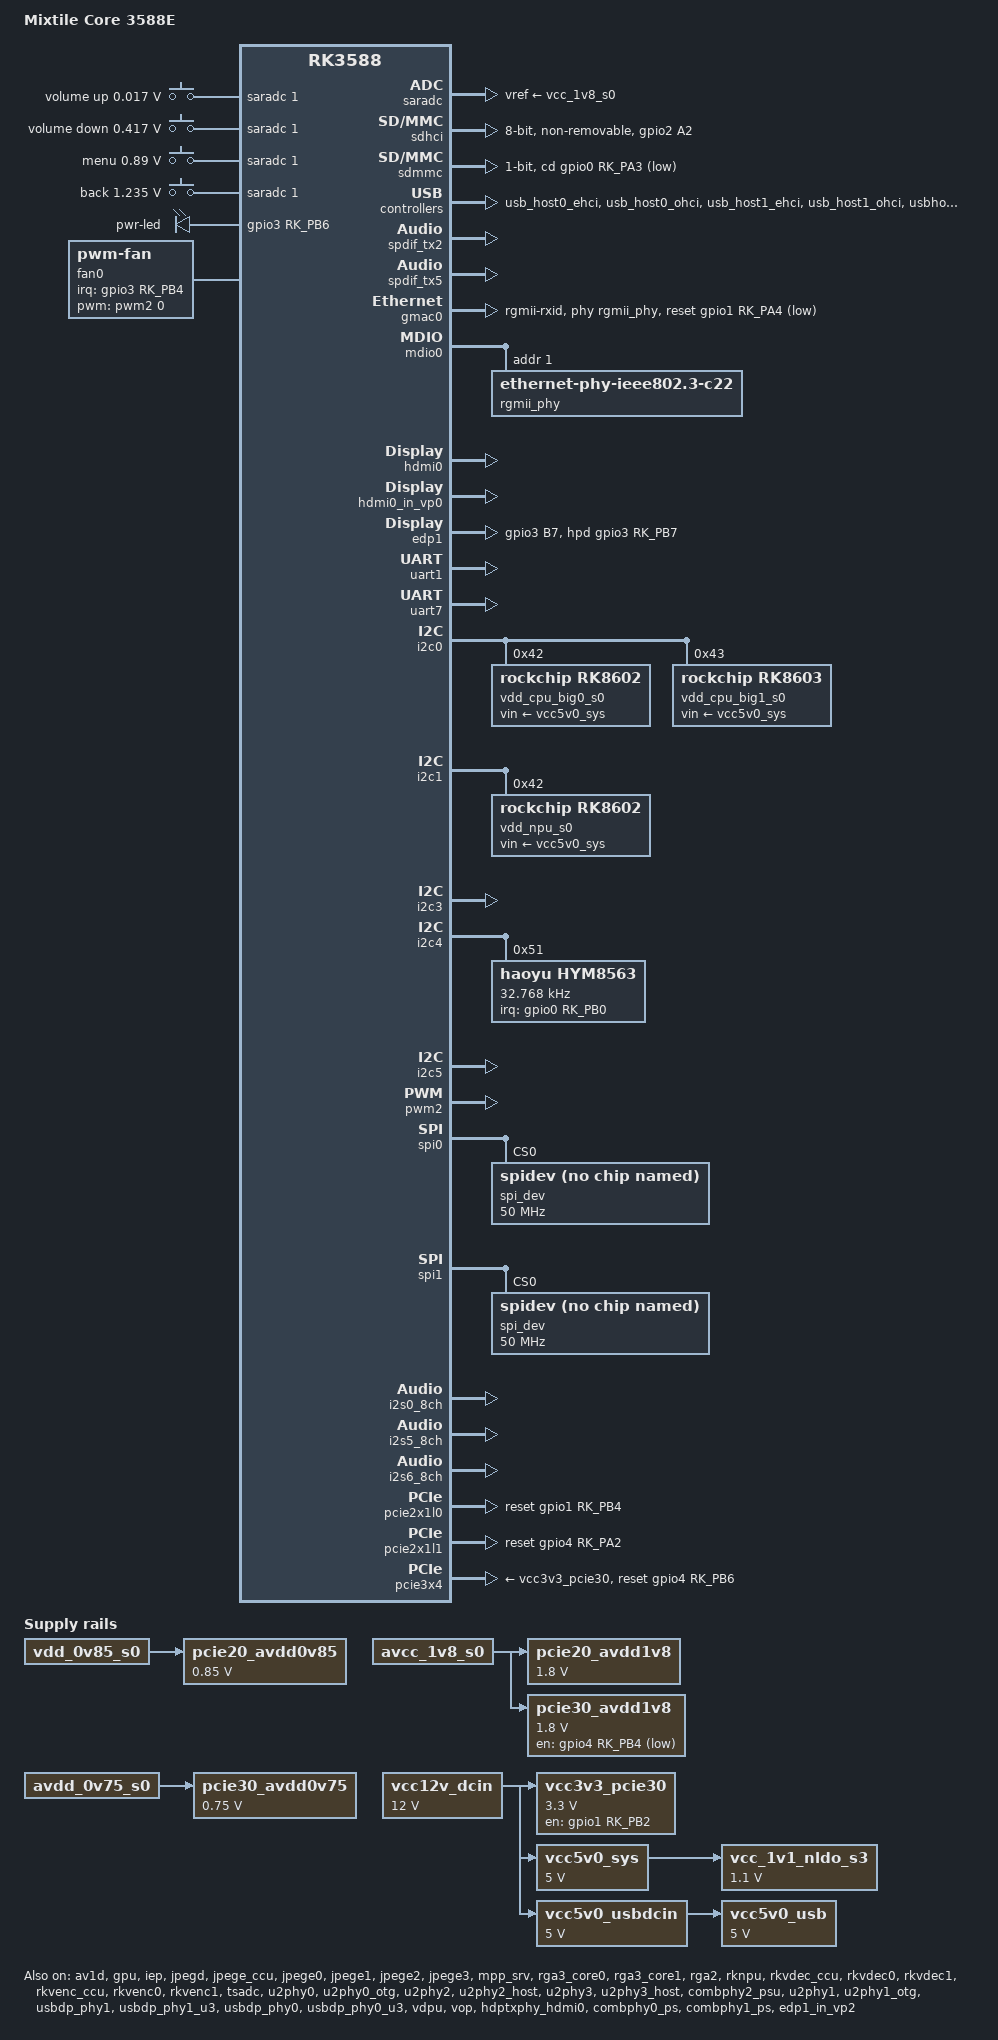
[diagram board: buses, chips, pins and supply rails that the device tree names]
// SPDX-License-Identifier: (GPL-2.0+ OR MIT)
/*
 * Copyright (c) 2022 Mixtile Limited
 *
 */

/dts-v1/;

#include <dt-bindings/gpio/gpio.h>
#include <dt-bindings/pwm/pwm.h>
#include <dt-bindings/pinctrl/rockchip.h>
#include <dt-bindings/input/rk-input.h>
#include <dt-bindings/display/drm_mipi_dsi.h>
#include <dt-bindings/display/rockchip_vop.h>
#include <dt-bindings/sensor-dev.h>

#include "dt-bindings/usb/pd.h"
#include "rk3588.dtsi"
#include "rk3588-rk806-single.dtsi"
#include "rk3588-linux.dtsi"

/ {
	model = "Mixtile Core 3588E";
	compatible = "mixtile,core3588e", "rockchip,rk3588";
	/delete-node/ chosen;

	aliases {
		i2c0 = &i2c4;
		i2c1 = &i2c5;
		i2c2 = &i2c3;
		i2c3 = &i2c0;
		i2c4 = &i2c1;
		i2c5 = &i2c2;
		spi0 = &spi1;
		spi1 = &spi0;
	};

	/* If hdmirx node is disabled, delete the reserved-memory node here. */
	reserved-memory {
		#address-cells = <2>;
		#size-cells = <2>;
		ranges;

		/* Reserve 256MB memory for hdmirx-controller@fdee0000 */
		cma {
			compatible = "shared-dma-pool";
			reusable;
			reg = <0x0 (256 * 0x100000) 0x0 (256 * 0x100000)>;
			linux,cma-default;
		};
	};

	adc_keys: adc-keys {
		compatible = "adc-keys";
		io-channels = <&saradc 1>;
		io-channel-names = "buttons";
		keyup-threshold-microvolt = <1800000>;
		poll-interval = <100>;

		vol-up-key {
			label = "volume up";
			linux,code = <KEY_VOLUMEUP>;
			press-threshold-microvolt = <17000>;
		};

		vol-down-key {
			label = "volume down";
			linux,code = <KEY_VOLUMEDOWN>;
			press-threshold-microvolt = <417000>;
		};

		menu-key {
			label = "menu";
			linux,code = <KEY_MENU>;
			press-threshold-microvolt = <890000>;
		};

		back-key {
			label = "back";
			linux,code = <KEY_BACK>;
			press-threshold-microvolt = <1235000>;
		};
	};

	gpio-leds {
		compatible = "gpio-leds";

		pwr-led {
			gpios = <&gpio3 RK_PB6 GPIO_ACTIVE_HIGH>;
			default-state = "on";
			linux,default-trigger = "heartbeat";
		};
	};

	hdmi0_sound: hdmi0-sound {
		status = "okay";
		compatible = "rockchip,hdmi";
		rockchip,mclk-fs = <128>;
		rockchip,card-name = "rockchip-hdmi0";
		rockchip,cpu = <&i2s5_8ch>;
		rockchip,codec = <&hdmi0>;
		rockchip,jack-det;
	};

	edp1_sound: edp1-sound {
		status = "okay";
		compatible = "rockchip,hdmi";
		rockchip,card-name = "rockchip-edp1";
		rockchip,mclk-fs = <512>;
		rockchip,cpu = <&i2s6_8ch>;
		rockchip,codec = <&edp1>;
		rockchip,jack-det;
	};

	pcie20_avdd0v85: pcie20-avdd0v85 {
		compatible = "regulator-fixed";
		regulator-name = "pcie20_avdd0v85";
		regulator-boot-on;
		regulator-always-on;
		regulator-min-microvolt = <850000>;
		regulator-max-microvolt = <850000>;
		vin-supply = <&vdd_0v85_s0>;
	};

	pcie20_avdd1v8: pcie20-avdd1v8 {
		compatible = "regulator-fixed";
		regulator-name = "pcie20_avdd1v8";
		regulator-boot-on;
		regulator-always-on;
		regulator-min-microvolt = <1800000>;
		regulator-max-microvolt = <1800000>;
		vin-supply = <&avcc_1v8_s0>;
	};

	pcie30_avdd0v75: pcie30-avdd0v75 {
		compatible = "regulator-fixed";
		regulator-name = "pcie30_avdd0v75";
		regulator-boot-on;
		regulator-always-on;
		regulator-min-microvolt = <750000>;
		regulator-max-microvolt = <750000>;
		vin-supply = <&avdd_0v75_s0>;
	};

	pcie30_avdd1v8: pcie30-avdd1v8 {
		compatible = "regulator-fixed";
		regulator-name = "pcie30_avdd1v8";
		regulator-boot-on;
		regulator-always-on;
		gpios = <&gpio4 RK_PB4 GPIO_ACTIVE_LOW>;
		regulator-min-microvolt = <1800000>;
		regulator-max-microvolt = <1800000>;
		vin-supply = <&avcc_1v8_s0>;
	};

	vcc3v3_pcie30: vcc3v3-pcie30 {
		compatible = "regulator-fixed";
		regulator-name = "vcc3v3_pcie30";
		regulator-min-microvolt = <3300000>;
		regulator-max-microvolt = <3300000>;
		enable-active-high;
		regulator-always-on;
		gpios = <&gpio1 RK_PB2 GPIO_ACTIVE_HIGH>;
		startup-delay-us = <10000>;
		vin-supply = <&vcc12v_dcin>;
	};

	vcc12v_dcin: vcc12v-dcin {
		compatible = "regulator-fixed";
		regulator-name = "vcc12v_dcin";
		regulator-always-on;
		regulator-boot-on;
		regulator-min-microvolt = <12000000>;
		regulator-max-microvolt = <12000000>;
	};

	vcc5v0_sys: vcc5v0-sys {
		compatible = "regulator-fixed";
		regulator-name = "vcc5v0_sys";
		regulator-always-on;
		regulator-boot-on;
		regulator-min-microvolt = <5000000>;
		regulator-max-microvolt = <5000000>;
		vin-supply = <&vcc12v_dcin>;
	};

	vcc5v0_usbdcin: vcc5v0-usbdcin {
		compatible = "regulator-fixed";
		regulator-name = "vcc5v0_usbdcin";
		regulator-always-on;
		regulator-boot-on;
		regulator-min-microvolt = <5000000>;
		regulator-max-microvolt = <5000000>;
		vin-supply = <&vcc12v_dcin>;
	};

	vcc5v0_usb: vcc5v0-usb {
		compatible = "regulator-fixed";
		regulator-name = "vcc5v0_usb";
		regulator-always-on;
		regulator-boot-on;
		regulator-min-microvolt = <5000000>;
		regulator-max-microvolt = <5000000>;
		vin-supply = <&vcc5v0_usbdcin>;
	};

	vcc_1v1_nldo_s3: vcc-1v1-nldo-s3 {
		compatible = "regulator-fixed";
		regulator-name = "vcc_1v1_nldo_s3";
		regulator-always-on;
		regulator-boot-on;
		regulator-min-microvolt = <1100000>;
		regulator-max-microvolt = <1100000>;
		vin-supply = <&vcc5v0_sys>;
	};

	fan0: pwm-fan {
		compatible = "pwm-fan";
		#cooling-cells = <2>;
		pwms = <&pwm2 0 50000 0>;
		interrupt-parent = <&gpio3>;
		interrupts = <RK_PB4 IRQ_TYPE_EDGE_FALLING>;
		pulses-per-revolution = <2>;
		cooling-levels = <50 100 150 200 255>;
		rockchip,temp-trips = <
			40000 1
			45000 2
			50000 3
			55000 4
		>;
	};
};

&av1d {
	status = "okay";
};

&av1d_mmu {
	status = "okay";
};

&cpu_l0 {
	cpu-supply = <&vdd_cpu_lit_s0>;
	mem-supply = <&vdd_cpu_lit_mem_s0>;
};

&cpu_b0 {
	cpu-supply = <&vdd_cpu_big0_s0>;
	mem-supply = <&vdd_cpu_big0_mem_s0>;
};

&cpu_b2 {
	cpu-supply = <&vdd_cpu_big1_s0>;
	mem-supply = <&vdd_cpu_big1_mem_s0>;
};

&gpu {
	mali-supply = <&vdd_gpu_s0>;
	mem-supply = <&vdd_gpu_mem_s0>;
	status = "okay";
};

&iep {
	status = "okay";
};

&iep_mmu {
	status = "okay";
};

&jpegd {
	status = "okay";
};

&jpegd_mmu {
	status = "okay";
};

&jpege_ccu {
	status = "okay";
};

&jpege0 {
	status = "okay";
};

&jpege0_mmu {
	status = "okay";
};

&jpege1 {
	status = "okay";
};

&jpege1_mmu {
	status = "okay";
};

&jpege2 {
	status = "okay";
};

&jpege2_mmu {
	status = "okay";
};

&jpege3 {
	status = "okay";
};

&jpege3_mmu {
	status = "okay";
};

&mpp_srv {
	status = "okay";
};

&rga3_core0 {
	status = "okay";
};

&rga3_0_mmu {
	status = "okay";
};

&rga3_core1 {
	status = "okay";
};

&rga3_1_mmu {
	status = "okay";
};

&rga2 {
	status = "okay";
};

&rknpu {
	rknpu-supply = <&vdd_npu_s0>;
	mem-supply = <&vdd_npu_mem_s0>;
	status = "okay";
};

&rknpu_mmu {
	status = "okay";
};

&rkvdec_ccu {
	status = "okay";
};

&rkvdec0 {
	status = "okay";
};

&rkvdec0_mmu {
	status = "okay";
};

&rkvdec1 {
	status = "okay";
};

&rkvdec1_mmu {
	status = "okay";
};

&rkvenc_ccu {
	status = "okay";
};

&rkvenc0 {
	status = "okay";
};

&rkvenc0_mmu {
	status = "okay";
};

&rkvenc1 {
	status = "okay";
};

&rkvenc1_mmu {
	status = "okay";
};

&rockchip_suspend {
	status = "okay";
	rockchip,sleep-debug-en = <1>;
	rockchip,sleep-mode-config = <0x4000024>;
};

&saradc {
	status = "okay";
	vref-supply = <&vcc_1v8_s0>;
};

&sdhci {
	bus-width = <8>;
	no-sdio;
	no-sd;
	non-removable;
	max-frequency = <200000000>;
	mmc-hs400-1_8v;
	mmc-hs400-enhanced-strobe;
	full-pwr-cycle-in-suspend;
	pinctrl-names = "default";
	pinctrl-0 = <&emmc_data_strobe>;
	status = "okay";
};

&sdmmc {
	max-frequency = <150000000>;
	bus-width = <1>;
	disable-wp;
	vqmmc-supply = <&vccio_sd_s0>;
	pinctrl-0 = <&sdmmc_bus4 &sdmmc_clk &sdmmc_cmd &sdmmc_det>;
	cd-gpios = <&gpio0 RK_PA3 GPIO_ACTIVE_LOW>;
	status = "okay";
};

&tsadc {
	status = "okay";
};

&u2phy0 {
	status = "okay";
};

&u2phy0_otg {
	status = "okay";
};

&u2phy2 {
	status = "okay";
};

&u2phy2_host {
	status = "okay";
};

&u2phy3 {
	status = "okay";
};

&u2phy3_host {
	status = "okay";
};

&usb_host0_ehci {
	status = "okay";
};

&usb_host0_ohci {
	status = "okay";
};

&usb_host1_ehci {
	status = "okay";
};

&usb_host1_ohci {
	status = "okay";
};

&usbhost3_0 {
	status = "okay";
};

&usbhost_dwc3_0 {
	status = "okay";
};

&combphy2_psu {
	status = "okay";
};

&u2phy1 {
	status = "okay";
};

&u2phy1_otg {
	status = "okay";
};

&usbdrd3_1{
	status = "okay";
};

&usbdrd_dwc3_1{
	status = "okay";
};

&usbdp_phy1 {
	status = "okay";
};

&usbdp_phy1_u3 {
	status = "okay";
};

&usbdp_phy0 {
	status = "okay";
};

&usbdp_phy0_u3 {
	status = "okay";
};

&usbdrd3_0 {
	status = "okay";
};

&usbdrd_dwc3_0 {
	extcon = <&u2phy0>;
	status = "okay";
};

&vdpu {
	status = "okay";
};

&vdpu_mmu {
	status = "okay";
};

&vop {
	assigned-clocks = <&cru ACLK_VOP>;
	assigned-clock-rates = <800000000>;
	status = "okay";
};

&vop_mmu {
	status = "okay";
};

/* vp0 & vp1 splice for 8K output */
&vp0 {
	rockchip,plane-mask = <(1 << ROCKCHIP_VOP2_CLUSTER0 | 1 << ROCKCHIP_VOP2_ESMART0)>;
	rockchip,primary-plane = <ROCKCHIP_VOP2_CLUSTER0>;
	cursor-win-id = <ROCKCHIP_VOP2_ESMART0>;
};

&vp1 {
	rockchip,plane-mask = <(1 << ROCKCHIP_VOP2_CLUSTER1 | 1 << ROCKCHIP_VOP2_ESMART1)>;
	rockchip,primary-plane = <ROCKCHIP_VOP2_CLUSTER1>;
	cursor-win-id = <ROCKCHIP_VOP2_ESMART1>;
};

&vp2 {
	rockchip,plane-mask = <(1 << ROCKCHIP_VOP2_CLUSTER2 | 1 << ROCKCHIP_VOP2_ESMART2)>;
	rockchip,primary-plane = <ROCKCHIP_VOP2_CLUSTER2>;
	cursor-win-id = <ROCKCHIP_VOP2_ESMART2>;
};

&vp3 {
	rockchip,plane-mask = <(1 << ROCKCHIP_VOP2_CLUSTER3 | 1 << ROCKCHIP_VOP2_ESMART3)>;
	rockchip,primary-plane = <ROCKCHIP_VOP2_CLUSTER3>;
	cursor-win-id = <ROCKCHIP_VOP2_ESMART3>;
};

&display_subsystem {
	clocks = <&hdptxphy_hdmi_clk0>;
	clock-names = "hdmi0_phy_pll";
};

&hdptxphy_hdmi0 {
	status = "okay";
};

&hdptxphy_hdmi_clk0 {
	status = "okay";
};

&combphy0_ps {
	status = "okay";
};

&combphy1_ps {
	status = "okay";
};

&combphy2_psu {
	status = "okay";
};

&spdif_tx2 {
	status = "okay";
};

&spdif_tx5 {
	status = "okay";
};

&gmac0 {
	status = "okay";
	phy-mode = "rgmii-rxid";
	clock_in_out = "output";

	snps,reset-gpio = <&gpio1 RK_PA4 GPIO_ACTIVE_LOW>;
	snps,reset-active-low;
	/* Reset time is 20ms, 100ms for rtl8211f */
	snps,reset-delays-us = <0 20000 100000>;

	pinctrl-names = "default";
	pinctrl-0 = <&gmac0_miim
				 &gmac0_tx_bus2
				 &gmac0_rx_bus2
				 &gmac0_rgmii_clk
				 &gmac0_rgmii_bus>;

	rx_delay = <0x00>;
	tx_delay = <0x43>;

	phy-handle = <&rgmii_phy>;
};

&mdio0 {
	rgmii_phy: phy@1 {
		compatible = "ethernet-phy-ieee802.3-c22";
		reg = <0x1>;
	};
};

&hdmi0 {
	status = "okay";
};

&hdmi0_in_vp0 {
	status = "okay";
};

&hdmi0_in_vp1 {
	status = "disabled";
};

&hdmi0_in_vp2 {
	status = "disabled";
};

&hdptxphy_hdmi0 {
	status = "okay";
};

&edp1 {
	pinctrl-names = "default";
	pinctrl-0 = <&edp1_hpd>;
	hpd-gpios = <&gpio3 RK_PB7 GPIO_ACTIVE_HIGH>;
	//force-hpd;
	status = "okay";
};

&edp1_in_vp2 {
	status = "okay";
};

&hdptxphy1 {
	status = "okay";
};

&uart1 {
	status = "okay";
	pinctrl-names = "default";
	pinctrl-0 = <&uart1m1_xfer &uart1m1_ctsn &uart1m1_rtsn>;
};

&uart7 {
	status = "okay";
	pinctrl-names = "default";
	pinctrl-0 = <&uart7m1_xfer &uart7m1_ctsn &uart7m1_rtsn>;
};

&i2c0 {
	status = "okay";
	pinctrl-names = "default";
	pinctrl-0 = <&i2c0m2_xfer>;

	vdd_cpu_big0_s0: vdd_cpu_big0_mem_s0: rk8602@42 {
		compatible = "rockchip,rk8602";
		reg = <0x42>;
		vin-supply = <&vcc5v0_sys>;
		regulator-compatible = "rk860x-reg";
		regulator-name = "vdd_cpu_big0_s0";
		regulator-min-microvolt = <550000>;
		regulator-max-microvolt = <1050000>;
		regulator-ramp-delay = <2300>;
		rockchip,suspend-voltage-selector = <1>;
		regulator-boot-on;
		regulator-always-on;
		regulator-state-mem {
			regulator-off-in-suspend;
		};
	};

	vdd_cpu_big1_s0: vdd_cpu_big1_mem_s0: rk8603@43 {
		compatible = "rockchip,rk8603";
		reg = <0x43>;
		vin-supply = <&vcc5v0_sys>;
		regulator-compatible = "rk860x-reg";
		regulator-name = "vdd_cpu_big1_s0";
		regulator-min-microvolt = <550000>;
		regulator-max-microvolt = <1050000>;
		regulator-ramp-delay = <2300>;
		rockchip,suspend-voltage-selector = <1>;
		regulator-boot-on;
		regulator-always-on;
		regulator-state-mem {
			regulator-off-in-suspend;
		};
	};
};

&i2c1 {
	status = "okay";
	pinctrl-names = "default";
	pinctrl-0 = <&i2c1m2_xfer>;

	vdd_npu_s0: vdd_npu_mem_s0: rk8602@42 {
		compatible = "rockchip,rk8602";
		reg = <0x42>;
		vin-supply = <&vcc5v0_sys>;
		regulator-compatible = "rk860x-reg";
		regulator-name = "vdd_npu_s0";
		regulator-min-microvolt = <550000>;
		regulator-max-microvolt = <950000>;
		regulator-ramp-delay = <2300>;
		rockchip,suspend-voltage-selector = <1>;
		regulator-boot-on;
		regulator-always-on;
		regulator-state-mem {
			regulator-off-in-suspend;
		};
	};

};

&i2c3 { 
	status = "okay";
	pinctrl-0 = <&i2c3m0_xfer>;
};

&i2c4 { 
	status = "okay";
	pinctrl-0 = <&i2c4m3_xfer>;
	
	hym8563: hym8563@51 {
		compatible = "haoyu,hym8563";
		reg = <0x51>;
		#clock-cells = <0>;
		clock-frequency = <32768>;
		clock-output-names = "hym8563";
		pinctrl-names = "default";
		pinctrl-0 = <&rtc_int>;	
		interrupt-parent = <&gpio0>;
		interrupts = <RK_PB0 IRQ_TYPE_LEVEL_LOW>;
		status = "okay";
	};
};

&i2c5 {
	status = "okay";
	pinctrl-names = "default";
	pinctrl-0 = <&i2c5m2_xfer>;
};

&pwm2 { 
	pinctrl-names = "active";
	pinctrl-0 = <&pwm2m1_pins>;
	status = "okay";
};

&spi0 {
	status = "okay";
	pinctrl-names = "default";
	pinctrl-0 = <&spi0m3_cs1 &spi0m3_pins>;
	num-cs = <1>;
	
	spi_dev@0 {
		compatible = "rockchip,spidev";
		reg = <0>;
		spi-max-frequency = <50000000>;
	};
};

&spi1 {
	status = "okay";
	pinctrl-names = "default";
	pinctrl-0 = <&spi1m2_cs0 &spi1m2_pins>;
	num-cs = <1>;
	
	spi_dev@0 {
		compatible = "rockchip,spidev";
		reg = <0>;
		spi-max-frequency = <50000000>;
	};
};

&i2s0_8ch {
	status = "okay";
	pinctrl-names = "default";
	pinctrl-0 = <&i2s0_lrck
	             &i2s0_sclk
	             &i2s0_sdi0
	             &i2s0_sdo0>;
};

&i2s5_8ch {
	status = "okay";
};

&i2s6_8ch {
	status = "okay";
};

&pcie2x1l0 { 
	reset-gpios = <&gpio1 RK_PB4 GPIO_ACTIVE_HIGH>;
	status = "okay";
};

&pcie2x1l1 {
	reset-gpios = <&gpio4 RK_PA2 GPIO_ACTIVE_HIGH>;
	status = "okay";
};

&pcie30phy {
	rockchip,pcie30-phymode = <PHY_MODE_PCIE_AGGREGATION>;
	status = "okay";
};

&pcie3x4 {
	reset-gpios = <&gpio4 RK_PB6 GPIO_ACTIVE_HIGH>;
	vpcie3v3-supply = <&vcc3v3_pcie30>;
	pinctrl-names = "default";
	pinctrl-0 = <&pcie30x4m1_pins>;
	supports-clkreq;
	status = "okay";
};

&pinctrl {
	usb {
		vcc5v0_host_en: vcc5v0-host-en {
			rockchip,pins = <4 RK_PB0 RK_FUNC_GPIO &pcfg_pull_none>;
		};
	};

	edp {
		edp1_hpd: edp1-hpd {
			rockchip,pins = <3 RK_PB7 RK_FUNC_GPIO &pcfg_pull_none>;
		};
	};

	hym8563 {
		rtc_int: rtc-int {
			rockchip,pins = <0 RK_PB0 RK_FUNC_GPIO &pcfg_pull_up>;
		};
	};

	emmc {
		emmc_data_strobe: emmc-data-strobe {
			rockchip,pins = <2 RK_PA2 1 &pcfg_pull_down>;
		};
	};
};

&route_hdmi0 {
	connect = <&vp0_out_hdmi0>;
	status = "okay";
};

&route_edp1 {
	status = "okay";
	connect = <&vp2_out_edp1>;
};

&gpio0 {
	gpio-line-names =
		/* GPIO0_A0-A3 */
		"PIN_29", "", "", "",
		/* GPIO0_A4-A7 */
		"", "", "", "",

		/* GPIO0_B0-B3 */
		"", "", "", "",
		/* GPIO0_B4-B7 */
		"", "", "", "",

		/* GPIO0_C0-C3 */
		"", "", "", "",
		/* GPIO0_C4-C7 */
		"", "", "", "",

		/* GPIO0_D0-D3 */
		"", "", "", "",
		/* GPIO0_D4-D7 */
		"", "", "", "";
};

&gpio1 {
	gpio-line-names =
		/* GPIO1_A0-A3 */
		"", "", "", "",
		/* GPIO1_A4-A7 */
		"", "", "", "",

		/* GPIO1_B0-B3 */
		"", "", "", "",
		/* GPIO1_B4-B7 */
		"", "", "", "",

		/* GPIO1_C0-C3 */
		"", "", "PIN_07", "",
		/* GPIO1_C4-C7 */
		"", "", "", "",

		/* GPIO1_D0-D3 */
		"", "", "", "",
		/* GPIO1_D4-D7 */
		"", "", "", "";
};

&gpio2 {
	gpio-line-names =
		/* GPIO2_A0-A3 */
		"", "", "", "",
		/* GPIO2_A4-A7 */
		"", "", "", "",

		/* GPIO2_B0-B3 */
		"", "", "", "",
		/* GPIO2_B4-B7 */
		"", "", "", "",

		/* GPIO2_C0-C3 */
		"", "", "", "",
		/* GPIO2_C4-C7 */
		"", "", "", "",

		/* GPIO2_D0-D3 */
		"", "", "", "",
		/* GPIO2_D4-D7 */
		"", "", "", "";
};

&gpio3 {
	gpio-line-names =
		/* GPIO3_A0-A3 */
		"PIN_32", "", "", "PIN_15",
		/* GPIO3_A4-A7 */
		"", "", "", "",

		/* GPIO3_B0-B3 */
		"PIN_33", "", "", "",
		/* GPIO3_B4-B7 */
		"", "", "", "",

		/* GPIO3_C0-C3 */
		"", "", "", "",
		/* GPIO3_C4-C7 */
		"", "", "PIN_31", "",

		/* GPIO3_D0-D3 */
		"", "", "", "",
		/* GPIO3_D4-D7 */

		"", "", "", "";
};

&gpio4 {
	gpio-line-names =
		/* GPIO4_A0-A3 */
		"", "", "", "",
		/* GPIO4_A4-A7 */
		"", "", "", "",

		/* GPIO4_B0-B3 */
		"", "", "", "",
		/* GPIO4_B4-B7 */
		"", "", "", "",

		/* GPIO4_C0-C3 */
		"", "", "", "",
		/* GPIO4_C4-C7 */
		"", "", "", "",

		/* GPIO4_D0-D3 */
		"", "", "", "",
		/* GPIO4_D4-D7 */
		"", "", "", "";
};
